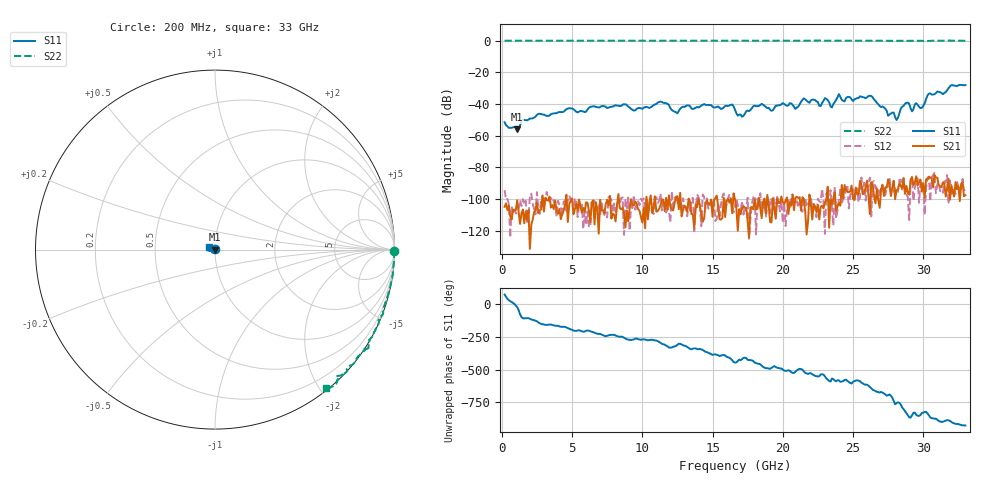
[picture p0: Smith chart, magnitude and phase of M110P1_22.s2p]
# GHZ S RI R 50
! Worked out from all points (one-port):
!   329 points, 200 MHz to 33 GHz, reference 50 ohm
!   lowest |S11| = -55.9 dB at 1.1 GHz (marker M1), VSWR 1.00, Z = 50.1 - j0.0701 ohm
!   |S11| at or under -10 dB: start of sweep to end of sweep
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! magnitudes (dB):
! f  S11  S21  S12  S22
! 200 MHz  -51.6  -105.0  -94.4  0.0
! 1.1 GHz  -55.9  -100.9  -108.8  0.0
! 2.6 GHz  -46.3  -109.0  -107.3  0.0
! 5.7 GHz  -44.5  -108.8  -103.6  0.0
! 11.2 GHz  -38.7  -106.3  -101.1  0.0
! 12.5 GHz  -45.9  -98.3  -101.7  -0.1
! 14.4 GHz  -40.1  -112.6  -98.6  0.0
! 16.6 GHz  -43.8  -100.2  -105.0  0.0
! 17.1 GHz  -48.1  -105.8  -101.3  0.0
! 18.5 GHz  -39.9  -112.2  -107.0  0.0
! 20.9 GHz  -43.1  -99.4  -102.3  0.0
! 22.1 GHz  -37.3  -113.0  -105.8  0.0
! 23.5 GHz  -42.2  -103.6  -106.0  0.0
! 24 GHz  -33.8  -102.6  -99.9  0.0
! 24.4 GHz  -38.4  -91.2  -98.8  0.0
! 26.3 GHz  -34.9  -89.4  -111.1  0.0
! 27.6 GHz  -46.7  -90.6  -86.5  -0.1
! 28.1 GHz  -50.1  -94.5  -96.1  -0.1
! 28.8 GHz  -39.3  -91.8  -97.3  0.0
! 29.2 GHz  -44.7  -86.1  -86.6  -0.1
! 30.4 GHz  -33.4  -85.9  -86.8  -0.2
! 33 GHz  -28.1  -97.7  -94.4  -0.1
